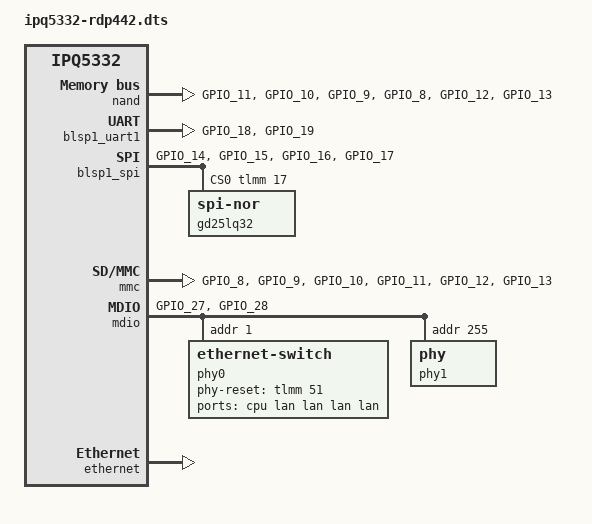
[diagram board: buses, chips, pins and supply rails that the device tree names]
// SPDX-License-Identifier: GPL-2.0-only
/*
* Copyright (c) 2023, Qualcomm Innovation Center, Inc. All rights reserved.
*/

#include "ipq5332.dtsi"

/ {
	config_name = "config@mi01.3", "config@rdp442", "config-rdp442";

	aliases {
		console = &blsp1_uart1;
		sdhci = &mmc;
	};

	soc: soc {
		tlmm: pinctrl@1000000 {
			sdhci_pinmux: mmc {
				emmc_data {
					pins = "GPIO_8", "GPIO_9", "GPIO_10",
						"GPIO_11";
					function = "sdc";
					drive-strength = <DRIVE_STRENGTH_8MA>;
					bias-pull-up;
				};

				emmc_cmd{
					pins = "GPIO_12";
					function = "sdc";
					drive-strength = <DRIVE_STRENGTH_8MA>;
					bias-pull-up;
				};

				emmc_clk{
					pins = "GPIO_13";
					function = "sdc";
					drive-strength = <DRIVE_STRENGTH_8MA>;
					bias-disable;
				};
			};

			qspi_pinmux: nand {
				qspi_data {
					pins = "GPIO_11", "GPIO_10", "GPIO_9",
						"GPIO_8";
					function = "qspi";
					drive-strength = <DRIVE_STRENGTH_8MA>;
					bias-pull-down;
				};

				qspi_cs_n {
					pins = "GPIO_12";
					function = "qspi";
					drive-strength = <DRIVE_STRENGTH_8MA>;
					bias-pull-up;
				};

				qspi_clk {
					pins = "GPIO_13";
					function = "qspi";
					drive-strength = <DRIVE_STRENGTH_8MA>;
					bias-pull-down;
				};
			};

			serial_pinmux: uart {
				data {
					pins = "GPIO_18", "GPIO_19";
					function = "blsp0_uart0";
					drive-strength = <DRIVE_STRENGTH_8MA>;
					bias-pull-up;
				};
			};

			blsp1_spi_pinmux: blsp1_spi_pins {
				blsp0_spi_clk {
					pins = "GPIO_14";
					function = "blsp0_spi";
					drive-strength = <DRIVE_STRENGTH_8MA>;
					bias-disable;
				};

				blsp0_spi_mosi {
					pins = "GPIO_15";
					function = "blsp0_spi";
					drive-strength = <DRIVE_STRENGTH_8MA>;
					bias-disable;
				};

				blsp0_spi_miso {
					pins = "GPIO_16";
					function = "blsp0_spi";
					drive-strength = <DRIVE_STRENGTH_8MA>;
					bias-disable;
				};

				blsp0_spi_cs {
					pins = "GPIO_17";
					function = "blsp0_spi";
					drive-strength = <DRIVE_STRENGTH_8MA>;
					bias-pull-up;
				};

			};

			mdio_pinmux: mdio {
				mdc {
					pins = "GPIO_27";
					function = "mdc_1";
					drive-strength = <DRIVE_STRENGTH_8MA>;
					bias-disable;
				};

				mdio {
					pins = "GPIO_28";
					function = "mdio_1";
					drive-strength = <DRIVE_STRENGTH_8MA>;
					bias-pull-up;
				};
			};

			phy_rst_pinmux: phy_rst {
				qti_8x8x_rst {
					pins = "GPIO_51";
					bias-pull-up;
				};
			};
		};

		nand: nand-controller@79B0000 {
			pinctrl-names = "default";
			pinctrl-0 = <&qspi_pinmux>;
			status = "okay";
		};

		blsp1_uart1: serial@78af000 {
			pinctrl-names = "uart";
			pinctrl-0 = <&serial_pinmux>;
			status = "okay";
		};

		blsp1_spi: spi@78b5000 {
			pinctrl-names = "default";
			pinctrl-0 = <&blsp1_spi_pinmux>;
			cs-gpios = <&tlmm 17 0>;
			force-cs;
			status = "okay";

			gd25lq32@0 {
				compatible = "jedec,spi-nor";
				reg = <0>;
			};
		};

		mmc: sdhci@7800000 {
			pinctrl-names = "mmc";
			pinctrl-0 = <&sdhci_pinmux>;
			status = "okay";
		};

		mdio: mdio@90000 {
			pinctrl-names = "mdio";
			pinctrl-0 = <&mdio_pinmux>;
			status = "okay";

			phy0: ethernet-switch@1 {
				phy-reset-gpio = <&tlmm 51 0>;
				dev-mode = <0x1>;
				reg = <1>;
				phy_id = <10>;
				id = <1>;
				uniphy_id = <0>;
				uniphy_type = <0>;
				max_speed = <2500>;
				force-speed;
				xgmac;
				ports {
					#address-cells = <1>;
					#size-cells = <0>;

					port0: port@0 {
						reg = <0>;
						label = "cpu";
						phy-mode = "sgmii-2500";
						fixed-link {
							speed = <2500>;
							full-duplex;
						};
					};

					port1: port@1 {
						reg = <1>;
						label = "lan";
					};

					port2: port@2 {
						reg = <2>;
						label = "lan";
					};

					port3: port@3 {
						reg = <3>;
						label = "lan";
					};

					port4: port@4 {
						reg = <4>;
						label = "lan";
					};
				};
			};

			phy1: phy@ff {
				reg = <0xFF>;
				phy_id = <5>;
				id = <2>;
				uniphy_id = <1>;
				uniphy_type = <0>;
				max_speed = <10000>;
				xgmac;
			};
		};

		ethernet: nss-switch {
			phy-handle0 = <&phy0>;
			phy-handle1 = <&phy1>;
			status = "okay";
		};
	};
};
